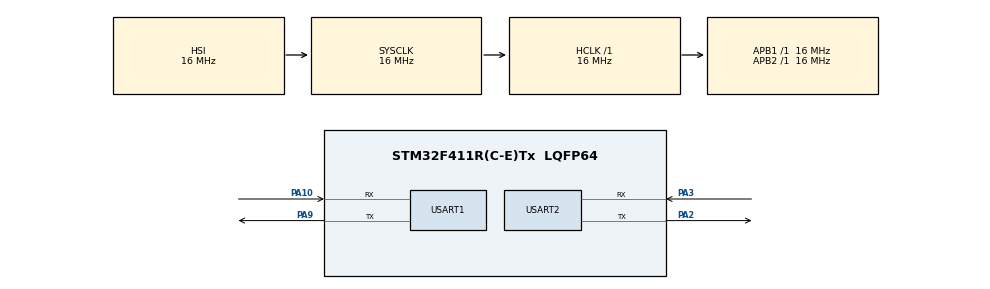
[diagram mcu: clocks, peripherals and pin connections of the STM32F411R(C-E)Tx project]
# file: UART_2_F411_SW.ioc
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Mcu.Family=STM32F4
Mcu.Name=STM32F411R(C-E)Tx
Mcu.Package=LQFP64
NVIC.PriorityGroup=NVIC_PRIORITYGROUP_4
NVIC.USART1_IRQn=true\:0\:0\:false\:false\:true\:true\:true
NVIC.USART2_IRQn=true\:0\:0\:false\:false\:true\:true\:true
PA10.Mode=Asynchronous
PA10.Signal=USART1_RX
PA2.Mode=Asynchronous
PA2.Signal=USART2_TX
PA3.Mode=Asynchronous
PA3.Signal=USART2_RX
PA9.Mode=Asynchronous
PA9.Signal=USART1_TX
ProjectManager.HeapSize=0x200
ProjectManager.StackSize=0x400
ProjectManager.TargetToolchain=SW4STM32
RCC.AHBFreq_Value=16000000
RCC.APB1Freq_Value=16000000
RCC.APB2Freq_Value=16000000
RCC.CortexFreq_Value=16000000
RCC.HSE_VALUE=25000000
RCC.HSI_VALUE=16000000
RCC.LSE_VALUE=32768
RCC.SYSCLKFreq_VALUE=16000000
RCC.VCOOutputFreq_Value=192000000
USART1.VirtualMode=VM_ASYNC
USART2.VirtualMode=VM_ASYNC
board=custom

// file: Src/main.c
/* USER CODE BEGIN Header */
/**
  ******************************************************************************
  * @file           : main.c
  * @brief          : Main program body
  ******************************************************************************
  * @attention
  *
  * <h2><center>&copy; Copyright (c) 2019 STMicroelectronics.
  * All rights reserved.</center></h2>
  *
  * This software component is licensed by ST under BSD 3-Clause license,
  * the "License"; You may not use this file except in compliance with the
  * License. You may obtain a copy of the License at:
  *                        opensource.org/licenses/BSD-3-Clause
  *
  ******************************************************************************
  */
/* USER CODE END Header */

#include "main.h"

UART_HandleTypeDef huart1;
UART_HandleTypeDef huart2;

/* USER CODE BEGIN PV */
uint8_t buffer1_tx[]={10,11,12,13,14,15,16,17,18,19};
uint8_t buffer2_tx[]="Hello world!";
uint8_t buffer1_rx[10], buffer2_rx[10];
HAL_StatusTypeDef status1_rx=HAL_TIMEOUT, status1_tx=HAL_TIMEOUT;
HAL_StatusTypeDef status2_rx=HAL_TIMEOUT, status2_tx=HAL_TIMEOUT;

/* USER CODE END PV */

void SystemClock_Config(void);
static void MX_GPIO_Init(void);
static void MX_USART1_UART_Init(void);
static void MX_USART2_UART_Init(void);

/* USER CODE BEGIN 0 */
void HAL_UART_TxCpltCallback(UART_HandleTypeDef *huart){
	if (huart->Instance==USART1) { // Liaison Cable
		__NOP();
	} else if (huart->Instance==USART2) { // Hyper terminal
		__NOP();
	} else {// default
		__NOP();
	}
	status2_tx=HAL_UART_Transmit_IT(&huart2,buffer2_tx,sizeof(buffer2_tx)/sizeof(buffer2_tx[0]));
}

void HAL_UART_RxCpltCallback(UART_HandleTypeDef *huart){
	if (huart->Instance==USART1) { // Liaison Cable
		__NOP();
	} else if (huart->Instance==USART2) { // Hyper terminal
		__NOP();
	} else {// default
		__NOP();
	}
}
/* USER CODE END 0 */

int main(void)
{

  /* MCU Configuration--------------------------------------------------------*/

  /* Reset of all peripherals, Initializes the Flash interface and the Systick. */
  HAL_Init();

  /* Configure the system clock */
  SystemClock_Config();

  /* Initialize all configured peripherals */
  MX_GPIO_Init();
  MX_USART1_UART_Init();
  MX_USART2_UART_Init();
  /* USER CODE BEGIN 2 */
  status1_rx=HAL_UART_Receive_IT(&huart1,buffer1_rx,sizeof(buffer1_rx)/sizeof(buffer1_rx[0]));
  status1_tx=HAL_UART_Transmit_IT(&huart1,buffer1_tx,sizeof(buffer1_tx)/sizeof(buffer1_tx[0]));
  status2_rx=HAL_UART_Receive_IT(&huart2,buffer2_rx,sizeof(buffer2_rx)/sizeof(buffer2_rx[0]));
  status2_tx=HAL_UART_Transmit_IT(&huart2,buffer2_tx,sizeof(buffer2_tx)/sizeof(buffer2_tx[0]));
  /* USER CODE END 2 */

  /* Infinite loop */
  while (1)
  {

  }
}

void SystemClock_Config(void)
{
  RCC_OscInitTypeDef RCC_OscInitStruct = {0};
  RCC_ClkInitTypeDef RCC_ClkInitStruct = {0};

  /** Configure the main internal regulator output voltage
  */
  __HAL_RCC_PWR_CLK_ENABLE();
  __HAL_PWR_VOLTAGESCALING_CONFIG(PWR_REGULATOR_VOLTAGE_SCALE1);
  /** Initializes the CPU, AHB and APB busses clocks
  */
  RCC_OscInitStruct.OscillatorType = RCC_OSCILLATORTYPE_HSI;
  RCC_OscInitStruct.HSIState = RCC_HSI_ON;
  RCC_OscInitStruct.HSICalibrationValue = RCC_HSICALIBRATION_DEFAULT;
  RCC_OscInitStruct.PLL.PLLState = RCC_PLL_NONE;
  if (HAL_RCC_OscConfig(&RCC_OscInitStruct) != HAL_OK)
  {
    Error_Handler();
  }
  /** Initializes the CPU, AHB and APB busses clocks
  */
  RCC_ClkInitStruct.ClockType = RCC_CLOCKTYPE_HCLK|RCC_CLOCKTYPE_SYSCLK
                              |RCC_CLOCKTYPE_PCLK1|RCC_CLOCKTYPE_PCLK2;
  RCC_ClkInitStruct.SYSCLKSource = RCC_SYSCLKSOURCE_HSI;
  RCC_ClkInitStruct.AHBCLKDivider = RCC_SYSCLK_DIV1;
  RCC_ClkInitStruct.APB1CLKDivider = RCC_HCLK_DIV1;
  RCC_ClkInitStruct.APB2CLKDivider = RCC_HCLK_DIV1;

  if (HAL_RCC_ClockConfig(&RCC_ClkInitStruct, FLASH_LATENCY_0) != HAL_OK)
  {
    Error_Handler();
  }
}

static void MX_USART1_UART_Init(void)
{

  huart1.Instance = USART1;
  huart1.Init.BaudRate = 115200;
  huart1.Init.WordLength = UART_WORDLENGTH_8B;
  huart1.Init.StopBits = UART_STOPBITS_1;
  huart1.Init.Parity = UART_PARITY_NONE;
  huart1.Init.Mode = UART_MODE_TX_RX;
  huart1.Init.HwFlowCtl = UART_HWCONTROL_NONE;
  huart1.Init.OverSampling = UART_OVERSAMPLING_16;
  if (HAL_UART_Init(&huart1) != HAL_OK)
  {
    Error_Handler();
  }

}

static void MX_USART2_UART_Init(void)
{

  huart2.Instance = USART2;
  huart2.Init.BaudRate = 115200;
  huart2.Init.WordLength = UART_WORDLENGTH_8B;
  huart2.Init.StopBits = UART_STOPBITS_1;
  huart2.Init.Parity = UART_PARITY_NONE;
  huart2.Init.Mode = UART_MODE_TX_RX;
  huart2.Init.HwFlowCtl = UART_HWCONTROL_NONE;
  huart2.Init.OverSampling = UART_OVERSAMPLING_16;
  if (HAL_UART_Init(&huart2) != HAL_OK)
  {
    Error_Handler();
  }

}

static void MX_GPIO_Init(void)
{

  /* GPIO Ports Clock Enable */
  __HAL_RCC_GPIOA_CLK_ENABLE();

}

void Error_Handler(void)
{
}

/************************ (C) COPYRIGHT STMicroelectronics *****END OF FILE****/
